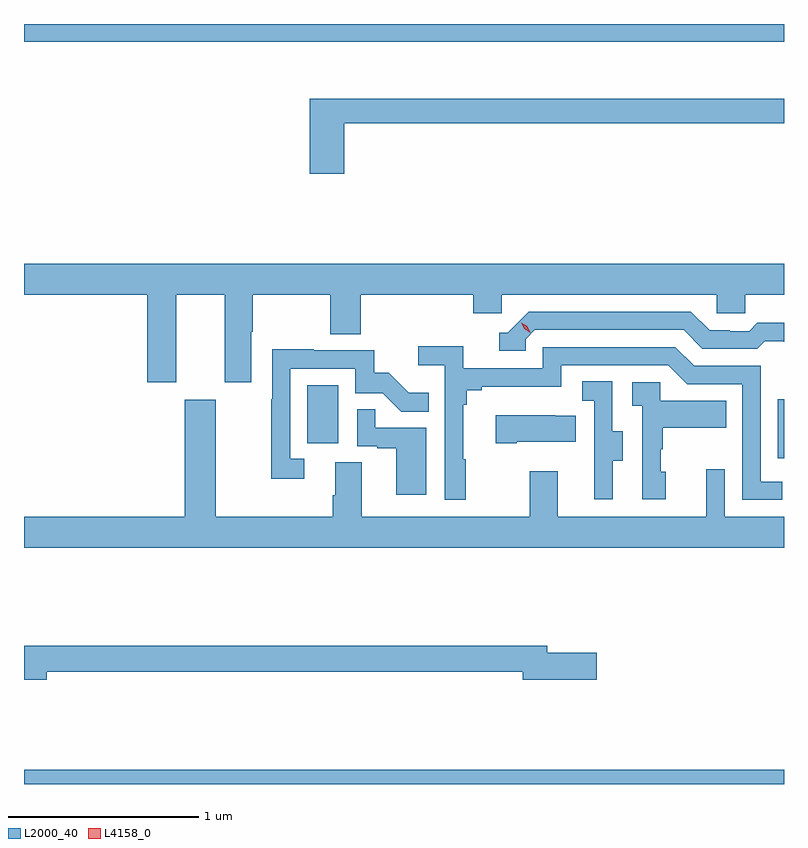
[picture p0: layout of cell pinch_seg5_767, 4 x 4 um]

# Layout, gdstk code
import gdstk
lib = gdstk.Library(unit=1e-6, precision=1e-09)
def R(c, l, rs):  # rectangles x0, y0, x1, y1
    for r in rs: c.add(gdstk.rectangle(r[:2], r[2:], *l))
def P(c, l, *ps):  # polygons
    for p in ps: c.add(gdstk.Polygon(p, *l))
L2000_40 = (2000, 40)
L4158_0 = (4158, 0)

pinch_seg5_767 = lib.new_cell('pinch_seg5_767')
R(pinch_seg5_767, L2000_40, [(840.929,892.813,844.929,892.888), (844.896,894.528,844.929,894.838), (842.42,894.606,842.584,894.913), (840.929,896.72,844.929,896.813)])
P(pinch_seg5_767, L2000_40, [(842.615,896.29),(844.929,896.29),(844.929,896.419),(842.432,896.419),(842.432,896.025),(842.615,896.025)],
  [(841.729,895.388),(841.985,895.388),(841.985,894.927),(842.125,894.927),(842.125,895.192),(842.133,895.192),(842.133,895.388),(842.542,895.388),(842.542,895.18),(842.702,895.18),(842.702,895.388),(843.293,895.388),(843.293,895.29),(843.444,895.29),(843.444,895.388),(844.575,895.388),(844.575,895.29),(844.725,895.29),(844.725,895.388),(844.929,895.388),(844.929,895.552),(840.929,895.552),(840.929,895.388),(841.577,895.388),(841.577,894.927),(841.729,894.927)],
  [(843.57,895.155),(843.618,895.203),(844.401,895.203),(844.5,895.104),(844.789,895.104),(844.828,895.143),(844.927,895.143),(844.927,895.14),(844.929,895.14),(844.929,895.24),(844.789,895.24),(844.747,895.197),(844.644,895.197),(844.644,895.2),(844.537,895.2),(844.438,895.299),(843.585,895.299),(843.474,895.188),(843.431,895.188),(843.431,895.092),(843.57,895.092)],
  [(843.253,894.521),(843.241,894.521),(843.241,894.809),(843.26,894.809),(843.26,894.886),(843.337,894.886),(843.337,894.905),(843.756,894.905),(843.756,895.017),(844.32,895.017),(844.419,894.918),(844.71,894.918),(844.71,894.309),(844.919,894.309),(844.919,894.405),(844.806,894.405),(844.806,895.014),(844.456,895.014),(844.357,895.113),(843.66,895.113),(843.66,895.002),(843.242,895.002),(843.242,895.118),(843.003,895.118),(843.003,895.016),(843.144,895.016),(843.144,894.309),(843.253,894.309)],
  [(842.404,894.525),(842.331,894.525),(842.331,894.999),(842.673,894.999),(842.673,894.87),(842.817,894.87),(842.915,894.772),(843.059,894.772),(843.059,894.871),(842.955,894.871),(842.848,894.978),(842.772,894.978),(842.772,895.095),(842.453,895.095),(842.453,895.1),(842.235,895.1),(842.235,894.839),(842.23,894.839),(842.23,894.42),(842.404,894.42)],
  [(844.027,894.514),(844.081,894.514),(844.081,894.669),(844.026,894.669),(844.026,894.932),(843.867,894.932),(843.867,894.829),(843.93,894.829),(843.93,894.525),(843.929,894.525),(843.929,894.312),(844.027,894.312)],
  [(844.306,894.456),(844.281,894.456),(844.281,894.575),(844.291,894.575),(844.291,894.689),(844.625,894.689),(844.625,894.829),(844.278,894.829),(844.278,894.927),(844.131,894.927),(844.131,894.803),(844.182,894.803),(844.182,894.312),(844.306,894.312)],
  [(844.929,894.22),(844.617,894.22),(844.617,894.469),(844.52,894.469),(844.52,894.22),(843.739,894.22),(843.739,894.46),(843.592,894.46),(843.592,894.22),(842.707,894.22),(842.707,894.506),(842.567,894.506),(842.567,894.332),(842.555,894.332),(842.555,894.22),(841.939,894.22),(841.939,894.835),(841.775,894.835),(841.775,894.22),(840.929,894.22),(840.929,894.056),(844.929,894.056)],
  [(843.046,894.687),(842.777,894.687),(842.777,894.785),(842.682,894.785),(842.682,894.591),(842.789,894.591),(842.789,894.579),(842.888,894.579),(842.888,894.336),(843.046,894.336)],
  [(843.523,894.614),(843.833,894.614),(843.833,894.751),(843.725,894.751),(843.725,894.754),(843.411,894.754),(843.411,894.607),(843.523,894.607)],
  [(841.048,893.404),(843.554,893.404),(843.554,893.362),(843.943,893.362),(843.943,893.504),(843.682,893.504),(843.682,893.54),(840.929,893.54),(840.929,893.362),(841.048,893.362)])
P(pinch_seg5_767, L4158_0, [(843.593,895.188),(843.563,895.208),(843.547,895.241),(843.547,895.241),(843.547,895.241),(843.578,895.221),(843.594,895.189),(843.594,895.188)])

lib.write_gds('pinch_seg5_767.gds')
